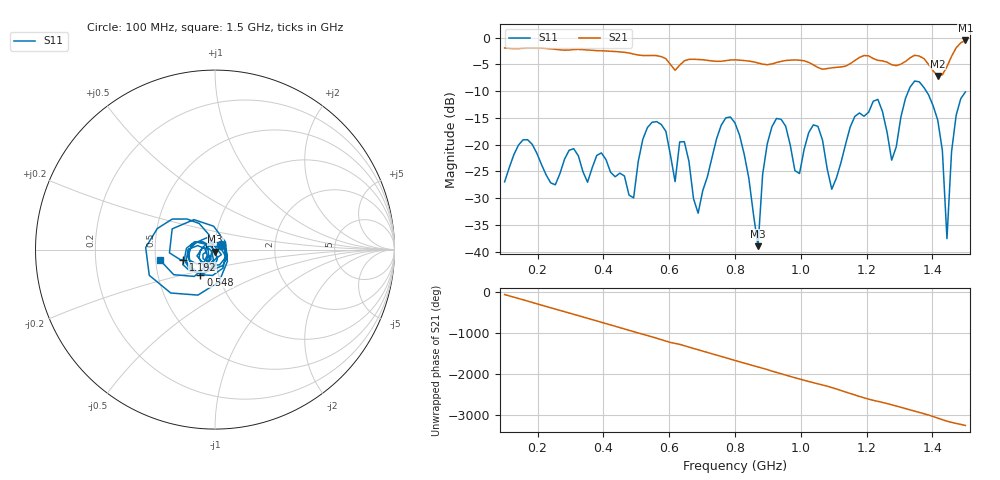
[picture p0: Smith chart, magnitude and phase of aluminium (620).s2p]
! NanoVNA-App
! Date: 2025-09-25 15:00:06
! Start: 100MHz Stop: 1,5GHz Points: 101
! S-Parameter data: F S11 S21 S12 S22
# Hz S RI R 50
!  Frequency  S11_Real  S11_Imag  S21_Real  S21_Imag  S12_Real  S12_Imag  S22_Real  S22_Imag
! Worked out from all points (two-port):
!   101 points, 100 MHz to 1.5 GHz, reference 50 ohm
!   highest |S21| = -0.52 dB at 1.5 GHz (marker M1); lowest = -7.1 dB at 1.416 GHz (marker M2)
!   |S21| within 3 dB of the highest: start of sweep to 574.3 MHz; 1.458 GHz to end of sweep (the widest 2 of 4)
!   lowest |S11| = -39.0 dB at 870 MHz (marker M3), VSWR 1.02, Z = 50.1 - j1.12 ohm
!   |S11| at or under -10 dB: start of sweep to 1.327 GHz; 1.381 GHz to end of sweep
!   S12 and S22 are empty: the file has one direction only
!   S11 on the Smith chart (normalised r, x): 100 MHz: 1.07, +0.06; 548 MHz: 0.82, -0.23; 1.192 GHz: 0.70, -0.08; 1.5 GHz: 0.53, -0.07
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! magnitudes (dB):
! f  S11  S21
! 100 MHz  -27.0  -1.9
! 156 MHz  -19.1  -2.0
! 338 MHz  -25.1  -2.2
! 492 MHz  -30.0  -3.1
! 548 MHz  -15.8  -3.3
! 576 MHz  -16.2  -3.5
! 646 MHz  -19.5  -4.3
! 688 MHz  -32.8  -4.1
! 800 MHz  -16.0  -4.1
! 870 MHz  -39.0  -4.7
! 912 MHz  -16.7  -4.9
! 996 MHz  -25.4  -4.2
! 1.038 GHz  -16.3  -5.1
! 1.094 GHz  -28.3  -5.6
! 1.192 GHz  -14.7  -3.3
! 1.234 GHz  -11.5  -4.2
! 1.276 GHz  -22.9  -5.1
! 1.346 GHz  -8.1  -3.3
! 1.416 GHz  -15.4  -7.1
! 1.444 GHz  -37.6  -5.4
! 1.458 GHz  -21.3  -3.5
! 1.5 GHz  -10.1  -0.5
